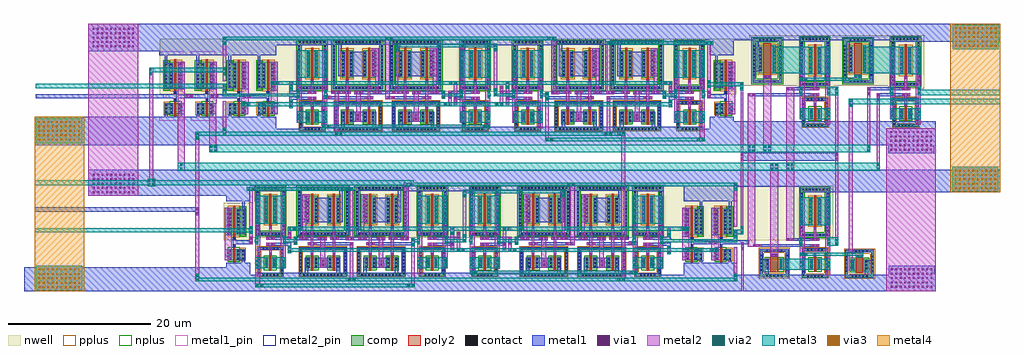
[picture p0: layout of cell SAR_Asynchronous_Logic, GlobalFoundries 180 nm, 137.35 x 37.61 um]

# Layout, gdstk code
from math import pi, radians
import gdstk
lib = gdstk.Library(unit=1e-6, precision=1e-09)
def R(c, l, rs):  # rectangles x0, y0, x1, y1
    for r in rs: c.add(gdstk.rectangle(r[:2], r[2:], *l))
def A(c, l, x, y, w, h, nx, ny, dx, dy):  # array of equal rectangles
    R(c, l, [(x+i*dx, y+j*dy, x+i*dx+w, y+j*dy+h) for i in range(nx) for j in range(ny)])
def P(c, l, *ps):  # polygons
    for p in ps: c.add(gdstk.Polygon(p, *l))
nwell = (21, 0)
comp = (22, 0)
poly2 = (30, 0)
pplus = (31, 0)
nplus = (32, 0)
contact = (33, 0)
metal1 = (34, 0)
metal1_pin = (34, 10)
via1 = (35, 0)
metal2 = (36, 0)
metal2_pin = (36, 10)
via2 = (38, 0)
via3 = (40, 0)
metal3 = (42, 0)
metal4 = (46, 0)

pfet = lib.new_cell('pfet')
R(pfet, nwell, [(-0.9,-0.44,1.56,4.34)])
R(pfet, comp, [(-0.46,0,0,3.9), (0,0,0.66,3.9), (0.66,0,1.12,3.9)])
R(pfet, poly2, [(0.19,-0.3,0.47,4.2), (0.14,4.2,0.52,4.58)])
R(pfet, pplus, [(-0.63,-0.24,1.29,4.14)])
A(pfet, contact, -0.34, 0.31, 0.22, 0.22, 1, 7, 0, 0.51)
A(pfet, contact, 0.78, 0.31, 0.22, 0.22, 1, 7, 0, 0.51)
R(pfet, contact, [(0.22,4.28,0.44,4.5)])
R(pfet, metal1, [(-0.42,0.23,-0.04,3.67), (0.7,0.23,1.08,3.67), (0.14,4.199,0.52,4.581)])

via_dev_2 = lib.new_cell('via_dev$2')
R(via_dev_2, metal1, [(0,0,1.2,0.4)])
R(via_dev_2, via1, [(0.205,0.07,0.465,0.33), (0.735,0.07,0.995,0.33)])
R(via_dev_2, metal2, [(0,0,1.2,0.4)])

via_dev_3 = lib.new_cell('via_dev$3')
R(via_dev_3, poly2, [(0,0,0.4,0.4)])
R(via_dev_3, contact, [(0.09,0.09,0.31,0.31)])
R(via_dev_3, metal1, [(0,0,0.4,0.4)])
R(via_dev_3, via1, [(0.07,0.07,0.33,0.33)])
R(via_dev_3, metal2, [(0,0,0.4,0.4)])

via_dev_4 = lib.new_cell('via_dev$4')
R(via_dev_4, comp, [(0,0,2.83,0.4)])
A(via_dev_4, contact, 0.345, 0.09, 0.22, 0.22, 5, 1, 0.48, 0)
R(via_dev_4, metal1, [(0,0,2.83,0.4)])

via_dev_5 = lib.new_cell('via_dev$5')
R(via_dev_5, comp, [(0,0,0.4,3.8)])
A(via_dev_5, contact, 0.09, 0.35, 0.22, 0.22, 1, 7, 0, 0.48)
R(via_dev_5, metal1, [(0,0,0.4,3.8)])

via_dev_6 = lib.new_cell('via_dev$6')
R(via_dev_6, comp, [(0,0,0.4,4.1)])
A(via_dev_6, contact, 0.09, 0.26, 0.22, 0.22, 1, 8, 0, 0.48)
R(via_dev_6, metal1, [(0,0,0.4,4.1)])

via_dev_7 = lib.new_cell('via_dev$7')
R(via_dev_7, comp, [(0,0,0.4,6)])
A(via_dev_7, contact, 0.09, 0.25, 0.22, 0.22, 1, 12, 0, 0.48)
R(via_dev_7, metal1, [(0,0,0.4,6)])

via_dev_8 = lib.new_cell('via_dev$8')
R(via_dev_8, comp, [(0,0,4.05,0.4)])
A(via_dev_8, contact, 0.235, 0.09, 0.22, 0.22, 8, 1, 0.48, 0)
R(via_dev_8, metal1, [(0,0,4.05,0.4)])

via_dev_9 = lib.new_cell('via_dev$9')
R(via_dev_9, metal1, [(0,0,0.4,3.9)])
A(via_dev_9, via1, 0.07, 0.23, 0.26, 0.26, 1, 7, 0, 0.53)
R(via_dev_9, metal2, [(0,0,0.4,3.9)])
A(via_dev_9, via2, 0.07, 0.23, 0.26, 0.26, 1, 7, 0, 0.53)
R(via_dev_9, metal3, [(0,0,0.4,3.9)])

via_dev_10 = lib.new_cell('via_dev$10')
R(via_dev_10, metal2, [(0,0,0.4,1.56)])
R(via_dev_10, via2, [(0.07,0.385,0.33,0.645), (0.07,0.915,0.33,1.175)])
R(via_dev_10, metal3, [(0,0,0.4,1.56)])

nfet = lib.new_cell('nfet')
R(nfet, comp, [(-0.42,0,0,1.56), (0,0,0.66,1.56), (0.66,0,1.08,1.56)])
R(nfet, poly2, [(0.19,-0.3,0.47,1.86), (0.15,1.86,0.51,2.22)])
R(nfet, nplus, [(-0.59,-0.24,1.25,1.8)])
A(nfet, contact, -0.32, 0.16, 0.22, 0.22, 1, 3, 0, 0.51)
A(nfet, contact, 0.76, 0.16, 0.22, 0.22, 1, 3, 0, 0.51)
R(nfet, contact, [(0.22,1.93,0.44,2.15)])
R(nfet, metal1, [(-0.4,0.08,-0.02,1.48), (0.68,0.08,1.06,1.48), (0.14,1.849,0.52,2.231)])

via_dev_11 = lib.new_cell('via_dev$11')
R(via_dev_11, metal2, [(0,0,0.4,3.9)])
A(via_dev_11, via2, 0.07, 0.23, 0.26, 0.26, 1, 7, 0, 0.53)
R(via_dev_11, metal3, [(0,0,0.4,3.9)])

via_dev_12 = lib.new_cell('via_dev$12')
R(via_dev_12, metal1, [(0,0,0.4,1.56)])
R(via_dev_12, via1, [(0.07,0.385,0.33,0.645), (0.07,0.915,0.33,1.175)])
R(via_dev_12, metal2, [(0,0,0.4,1.56)])
R(via_dev_12, via2, [(0.07,0.385,0.33,0.645), (0.07,0.915,0.33,1.175)])
R(via_dev_12, metal3, [(0,0,0.4,1.56)])

via_dev_13 = lib.new_cell('via_dev$13')
R(via_dev_13, metal2, [(0,0,0.4,1.2)])
R(via_dev_13, via2, [(0.07,0.205,0.33,0.465), (0.07,0.735,0.33,0.995)])
R(via_dev_13, metal3, [(0,0,0.4,1.2)])

t_gate = lib.new_cell('t_gate')
R(t_gate, nwell, [(-2,-1.2,3.03,6.3)])
R(t_gate, comp, [(1.86,-2.8,2.26,-2.5)])
R(t_gate, pplus, [(-1.45,-6.7,-0.83,-2.35), (-1.45,-6.7,1.73,-6.08), (1.73,-6.7,2.35,-2.35), (-1.45,-2.97,1.83,-2.35)])
R(t_gate, nplus, [(-1.8,-1,2.62,-0.2), (-1.8,-0.85,-1,6.05), (1.85,-0.85,2.62,6.1), (-1.8,5.4,2.62,6.18)])
R(t_gate, metal1, [(-1.45,-6.7,2.35,-6.28), (1.86,-2.8,2.26,-2.5), (-1.79,-2.27,-0.09,-1.87), (-1.78,-1.43,-0.11,-1.03), (-1.8,5.4,2.62,6.18)])
R(t_gate, metal2, [(1.86,-6.3,2.57,4.71), (-1.715,-5.515,-1.005,4.695), (0.25,-3.6,0.65,-2), (0.25,-1.32,0.65,0.51)])
R(t_gate, metal3, [(-1.63,-5.5,-0.3,-3.94), (0.8,-5.5,2.4,-3.94), (-1.78,-1.8,-1.32,-1.42), (2.17,-1.78,2.63,-1.42), (-1.67,0.8,-0.34,4.7), (1.24,0.8,2.57,4.7)])
t_gate.add(gdstk.Reference(pfet, (0.12,4.7), x_reflection=True))
t_gate.add(gdstk.Reference(via_dev_2, (-0.15,-2.27)))
t_gate.add(gdstk.Reference(via_dev_3, (0.25,0.11)))
t_gate.add(gdstk.Reference(via_dev_4, (-0.97,-6.6)))
t_gate.add(gdstk.Reference(via_dev_5, (1.86,-6.6)))
t_gate.add(gdstk.Reference(via_dev_6, (-1.37,-6.6)))
t_gate.add(gdstk.Reference(via_dev_7, (-1.6,-0.4)))
t_gate.add(gdstk.Reference(via_dev_3, (0.25,-3.66)))
t_gate.add(gdstk.Reference(via_dev_7, (2.05,-0.4)))
t_gate.add(gdstk.Reference(via_dev_8, (-1.6,5.6)))
t_gate.add(gdstk.Reference(via_dev_8, (-1.6,-0.8)))
t_gate.add(gdstk.Reference(via_dev_9, (-0.34,0.8)))
t_gate.add(gdstk.Reference(via_dev_4, (-0.97,-2.9)))
t_gate.add(gdstk.Reference(via_dev_9, (0.84,0.8)))
t_gate.add(gdstk.Reference(via_dev_10, (2.17,-5.5)))
t_gate.add(gdstk.Reference(nfet, (0.12,-5.5)))
t_gate.add(gdstk.Reference(via_dev_11, (-1.67,0.8)))
t_gate.add(gdstk.Reference(via_dev_10, (-1.63,-5.5)))
t_gate.add(gdstk.Reference(via_dev_12, (0.8,-5.5)))
t_gate.add(gdstk.Reference(via_dev_11, (2.17,0.8)))
t_gate.add(gdstk.Reference(via_dev_12, (-0.3,-5.5)))
t_gate.add(gdstk.Reference(via_dev_2, (-0.15,-1.43)))
t_gate.add(gdstk.Reference(via_dev_13, (-1.72,-2.12)))
t_gate.add(gdstk.Reference(via_dev_13, (2.17,-2.12)))

pfet_1 = lib.new_cell('pfet$1')
R(pfet_1, nwell, [(-1.15,-0.69,2.54,4.59)])
R(pfet_1, comp, [(-0.46,0,0,3.9), (0,0,0.66,3.9), (0.66,0,1.12,3.9), (1.12,0,1.85,3.9)])
R(pfet_1, poly2, [(0.19,-0.3,0.47,4.2), (0.14,4.2,0.52,4.58)])
R(pfet_1, pplus, [(-0.63,-0.24,1.12,4.14)])
R(pfet_1, nplus, [(1.12,-0.17,2.02,4.07)])
A(pfet_1, contact, -0.34, 0.31, 0.22, 0.22, 1, 7, 0, 0.51)
A(pfet_1, contact, 0.78, 0.31, 0.22, 0.22, 1, 7, 0, 0.51)
A(pfet_1, contact, 1.51, 0.31, 0.22, 0.22, 1, 7, 0, 0.51)
R(pfet_1, contact, [(0.22,4.28,0.44,4.5)])
R(pfet_1, metal1, [(-0.42,0.23,-0.04,3.67), (0.7,0.23,1.08,3.67), (1.43,0.23,1.81,3.67), (0.14,4.199,0.52,4.581)])

nfet_1 = lib.new_cell('nfet$1')
R(nfet_1, comp, [(-0.42,0,0,1.56), (0,0,0.66,1.56), (0.66,0,1.08,1.56), (1.08,0,1.79,1.56)])
R(nfet_1, poly2, [(0.19,-0.3,0.47,1.86), (0.15,1.86,0.51,2.22)])
R(nfet_1, pplus, [(1.08,-0.17,1.96,1.73)])
R(nfet_1, nplus, [(-0.59,-0.24,1.08,1.8)])
A(nfet_1, contact, -0.32, 0.16, 0.22, 0.22, 1, 3, 0, 0.51)
A(nfet_1, contact, 0.76, 0.16, 0.22, 0.22, 1, 3, 0, 0.51)
A(nfet_1, contact, 1.47, 0.16, 0.22, 0.22, 1, 3, 0, 0.51)
R(nfet_1, contact, [(0.22,1.93,0.44,2.15)])
R(nfet_1, metal1, [(-0.4,0.08,-0.02,1.48), (0.68,0.08,1.06,1.48), (1.39,0.08,1.77,1.48), (0.14,1.849,0.52,2.231)])

via_dev_14 = lib.new_cell('via_dev$14')
R(via_dev_14, metal1, [(0,0,1,1.56)])
R(via_dev_14, via1, [(0.37,0.385,0.63,0.645), (0.37,0.915,0.63,1.175)])
R(via_dev_14, metal2, [(0,0,1,1.56)])

via_dev_15 = lib.new_cell('via_dev$15')
R(via_dev_15, metal1, [(0,0,1,3.9)])
A(via_dev_15, via1, 0.37, 0.23, 0.26, 0.26, 1, 7, 0, 0.53)
R(via_dev_15, metal2, [(0,0,1,3.9)])

top = lib.new_cell('TOP')
R(top, metal1, [(-1.6,-3.6,1.8,-3.05), (-0.77,-3.1,-0.4,-2.6), (-0.5,-2.62,0.05,-1.22), (0.475,-0.855,0.86,-0.47), (0.48,-0.6,0.86,0.21), (-1,-0.47,0.86,0.14), (0.45,0.12,0.89,0.51), (-0.48,1.03,0.01,4.47), (-0.81,4.42,-0.43,5.67), (-1.6,5.6,1.8,6.16)])
R(top, metal1_pin, [(-1.6,-3.6,1.8,-3.05), (-1,-0.47,-0.6,0.14), (-1.6,5.6,1.8,6.16)])
R(top, metal2, [(1.02,-1.14,2.04,0.81)])
R(top, metal2_pin, [(1.02,-0.46,2.04,0.05)])
top.add(gdstk.Reference(pfet_1, (1,4.7), rotation=pi))
top.add(gdstk.Reference(nfet_1, (1,-2.7), rotation=pi, x_reflection=True))
top.add(gdstk.Reference(via_dev_14, (1.02,-2.7)))
top.add(gdstk.Reference(via_dev_15, (1.04,0.8)))

pfet_2 = lib.new_cell('pfet$2')
R(pfet_2, nwell, [(-1.15,-0.69,2.54,4.59)])
R(pfet_2, comp, [(-0.46,0,0,3.9), (0,0,0.66,3.9), (0.66,0,1.12,3.9), (1.12,0,1.85,3.9)])
R(pfet_2, poly2, [(0.19,-0.3,0.47,4.2), (0.14,4.2,0.52,4.58)])
R(pfet_2, pplus, [(-0.63,-0.24,1.12,4.14)])
R(pfet_2, nplus, [(1.12,-0.17,2.02,4.07)])
A(pfet_2, contact, -0.34, 0.31, 0.22, 0.22, 1, 7, 0, 0.51)
A(pfet_2, contact, 0.78, 0.31, 0.22, 0.22, 1, 7, 0, 0.51)
A(pfet_2, contact, 1.51, 0.31, 0.22, 0.22, 1, 7, 0, 0.51)
R(pfet_2, contact, [(0.22,4.28,0.44,4.5)])
R(pfet_2, metal1, [(-0.42,0.23,-0.04,3.67), (0.7,0.23,1.08,3.67), (1.43,0.23,1.81,3.67), (0.14,4.199,0.52,4.581)])

nfet_2 = lib.new_cell('nfet$2')
R(nfet_2, comp, [(-0.42,0,0,1.56), (0,0,0.66,1.56), (0.66,0,1.08,1.56), (1.08,0,1.79,1.56)])
R(nfet_2, poly2, [(0.19,-0.3,0.47,1.86), (0.15,1.86,0.51,2.22)])
R(nfet_2, pplus, [(1.08,-0.17,1.96,1.73)])
R(nfet_2, nplus, [(-0.59,-0.24,1.08,1.8)])
A(nfet_2, contact, -0.32, 0.16, 0.22, 0.22, 1, 3, 0, 0.51)
A(nfet_2, contact, 0.76, 0.16, 0.22, 0.22, 1, 3, 0, 0.51)
A(nfet_2, contact, 1.47, 0.16, 0.22, 0.22, 1, 3, 0, 0.51)
R(nfet_2, contact, [(0.22,1.93,0.44,2.15)])
R(nfet_2, metal1, [(-0.4,0.08,-0.02,1.48), (0.68,0.08,1.06,1.48), (1.39,0.08,1.77,1.48), (0.14,1.849,0.52,2.231)])

inv_1x = lib.new_cell('inv_1x')
R(inv_1x, metal1, [(-1.6,-3.6,1.8,-3.05), (-0.77,-3.1,-0.4,-2.6), (-0.5,-2.62,0.05,-1.22), (0.475,-0.855,0.86,-0.47), (0.48,-0.6,0.86,0.21), (-1,-0.47,0.86,0.14), (0.45,0.12,0.89,0.51), (-0.48,1.03,0.01,4.47), (-0.81,4.42,-0.43,5.67), (-1.6,5.6,1.8,6.16)])
R(inv_1x, metal2, [(1.02,-1.14,2.04,0.81)])
inv_1x.add(gdstk.Reference(pfet_2, (1,4.7), rotation=pi))
inv_1x.add(gdstk.Reference(nfet_2, (1,-2.7), rotation=pi, x_reflection=True))
inv_1x.add(gdstk.Reference(via_dev_14, (1.02,-2.7)))
inv_1x.add(gdstk.Reference(via_dev_15, (1.04,0.8)))

via_dev_16 = lib.new_cell('via_dev$16')
R(via_dev_16, metal1, [(0,0,1.2,0.5)])
R(via_dev_16, via1, [(0.205,0.12,0.465,0.38), (0.735,0.12,0.995,0.38)])
R(via_dev_16, metal2, [(0,0,1.2,0.5)])

via_dev_17 = lib.new_cell('via_dev$17')
R(via_dev_17, metal2, [(0,0,1.2,0.5)])
R(via_dev_17, via2, [(0.205,0.12,0.465,0.38), (0.735,0.12,0.995,0.38)])
R(via_dev_17, metal3, [(0,0,1.2,0.5)])

via_dev_18 = lib.new_cell('via_dev$18')
R(via_dev_18, metal1, [(0,0,0.5,1.2)])
R(via_dev_18, via1, [(0.12,0.205,0.38,0.465), (0.12,0.735,0.38,0.995)])
R(via_dev_18, metal2, [(0,0,0.5,1.2)])
R(via_dev_18, via2, [(0.12,0.205,0.38,0.465), (0.12,0.735,0.38,0.995)])
R(via_dev_18, metal3, [(0,0,0.5,1.2)])

via_dev_19 = lib.new_cell('via_dev$19')
R(via_dev_19, metal1, [(0,0,0.5,1.1)])
R(via_dev_19, via1, [(0.12,0.155,0.38,0.415), (0.12,0.685,0.38,0.945)])
R(via_dev_19, metal2, [(0,0,0.5,1.1)])
R(via_dev_19, via2, [(0.12,0.155,0.38,0.415), (0.12,0.685,0.38,0.945)])
R(via_dev_19, metal3, [(0,0,0.5,1.1)])

via_dev_20 = lib.new_cell('via_dev$20')
R(via_dev_20, metal1, [(0,0,0.5,1.1)])
R(via_dev_20, via1, [(0.12,0.155,0.38,0.415), (0.12,0.685,0.38,0.945)])
R(via_dev_20, metal2, [(0,0,0.5,1.1)])

via_dev_21 = lib.new_cell('via_dev$21')
R(via_dev_21, metal2, [(0,0,1.1,0.5)])
R(via_dev_21, via2, [(0.155,0.12,0.415,0.38), (0.685,0.12,0.945,0.38)])
R(via_dev_21, metal3, [(0,0,1.1,0.5)])

pfet_3 = lib.new_cell('pfet$3')
R(pfet_3, nwell, [(-0.9,-0.44,1.56,4.34)])
R(pfet_3, comp, [(-0.46,0,0,3.9), (0,0,0.66,3.9), (0.66,0,1.12,3.9)])
R(pfet_3, poly2, [(0.19,-0.3,0.47,4.2), (0.14,4.2,0.52,4.58)])
R(pfet_3, pplus, [(-0.63,-0.24,1.29,4.14)])
A(pfet_3, contact, -0.34, 0.31, 0.22, 0.22, 1, 7, 0, 0.51)
A(pfet_3, contact, 0.78, 0.31, 0.22, 0.22, 1, 7, 0, 0.51)
R(pfet_3, contact, [(0.22,4.28,0.44,4.5)])
R(pfet_3, metal1, [(-0.42,0.23,-0.04,3.67), (0.7,0.23,1.08,3.67), (0.14,4.199,0.52,4.581)])

via_dev_22 = lib.new_cell('via_dev$22')
R(via_dev_22, comp, [(0,0,7.15,0.4)])
A(via_dev_22, contact, 0.345, 0.09, 0.22, 0.22, 14, 1, 0.48, 0)
R(via_dev_22, metal1, [(0,0,7.15,0.4)])

via_dev_23 = lib.new_cell('via_dev$23')
R(via_dev_23, comp, [(0,0,6,0.4)])
A(via_dev_23, contact, 0.25, 0.09, 0.22, 0.22, 12, 1, 0.48, 0)
R(via_dev_23, metal1, [(0,0,6,0.4)])

via_dev_24 = lib.new_cell('via_dev$24')
R(via_dev_24, poly2, [(0,0,0.8,1.4)])
R(via_dev_24, contact, [(0.29,0.35,0.51,0.57), (0.29,0.83,0.51,1.05)])
R(via_dev_24, metal1, [(0,0,0.8,1.4)])
R(via_dev_24, via1, [(0.27,0.305,0.53,0.565), (0.27,0.835,0.53,1.095)])
R(via_dev_24, metal2, [(0,0,0.8,1.4)])

nor_2_1x = lib.new_cell('nor_2_1x')
R(nor_2_1x, nwell, [(-1.89,-1.15,5.88,6.3)])
R(nor_2_1x, pplus, [(-1.45,-6.7,-0.83,-2.35), (-1.45,-6.7,4.9,-6.08), (4.82,-6.7,5.44,-2.35), (-1.45,-2.97,4.9,-2.35)])
R(nor_2_1x, nplus, [(-1.8,-1,5.78,-0.2), (-1.8,-0.85,-1,6.05), (4.98,-0.85,5.78,6.1), (-1.8,5.45,5.78,6.18)])
R(nor_2_1x, metal1, [(-1.45,-6.7,5.44,-6.08), (-0.4,-6.29,0.1,-4.02), (4.06,-6.29,4.56,-4.02), (1.17,-5.42,2.84,-4.02), (-1.8,-2.2,2.93,-1.8), (1.44,-1.54,5.8,-1.06), (-1.8,-1.46,-0.24,-1.06), (-0.8,1.03,-0.3,5.98), (1.2,1.03,2.78,4.47), (-1.6,5.45,5.55,6.1)])
R(nor_2_1x, metal2, [(1.7,-4.02,2.38,-1.06), (0.25,-3.26,0.65,0.18), (3.33,-3.26,3.73,0.29), (4.38,-1.2,4.9,1.2)])
nor_2_1x.add(gdstk.Reference(pfet_3, (0.12,4.7), x_reflection=True))
nor_2_1x.add(gdstk.Reference(via_dev_3, (3.33,-3.66)))
nor_2_1x.add(gdstk.Reference(via_dev_3, (0.25,0.11)))
nor_2_1x.add(gdstk.Reference(via_dev_3, (3.33,0.11)))
nor_2_1x.add(gdstk.Reference(via_dev_15, (3.9,1.03)))
nor_2_1x.add(gdstk.Reference(nfet, (0.12,-5.5)))
nor_2_1x.add(gdstk.Reference(via_dev_7, (-1.6,-0.4)))
nor_2_1x.add(gdstk.Reference(via_dev_2, (2.93,-2.2)))
nor_2_1x.add(gdstk.Reference(via_dev_22, (-1.6,5.6)))
nor_2_1x.add(gdstk.Reference(nfet, (3.2,-5.5)))
nor_2_1x.add(gdstk.Reference(via_dev_23, (-0.97,-2.9)))
nor_2_1x.add(gdstk.Reference(via_dev_23, (-0.97,-6.6)))
nor_2_1x.add(gdstk.Reference(via_dev_6, (-1.37,-6.6)))
nor_2_1x.add(gdstk.Reference(via_dev_24, (1.56,-5.42)))
nor_2_1x.add(gdstk.Reference(via_dev_3, (0.25,-3.66)))
nor_2_1x.add(gdstk.Reference(via_dev_2, (1.44,-1.46)))
nor_2_1x.add(gdstk.Reference(via_dev_2, (4.05,-1.46)))
nor_2_1x.add(gdstk.Reference(pfet_3, (3.2,4.7), x_reflection=True))
nor_2_1x.add(gdstk.Reference(via_dev_2, (-0.24,-1.46)))
nor_2_1x.add(gdstk.Reference(via_dev_7, (5.15,-0.4)))
nor_2_1x.add(gdstk.Reference(via_dev_22, (-1.6,-0.8)))
nor_2_1x.add(gdstk.Reference(via_dev_6, (4.95,-6.6)))

via_dev_25 = lib.new_cell('via_dev$25')
R(via_dev_25, metal1, [(0,0,1.1,0.4)])
R(via_dev_25, via1, [(0.155,0.07,0.415,0.33), (0.685,0.07,0.945,0.33)])
R(via_dev_25, metal2, [(0,0,1.1,0.4)])

t_gate_1 = lib.new_cell('t_gate$1')
R(t_gate_1, nwell, [(-2,-1.2,2.7,6.3)])
R(t_gate_1, comp, [(1.86,-2.8,2.26,-2.5)])
R(t_gate_1, pplus, [(-1.45,-6.7,-0.83,-2.35), (-1.45,-6.7,1.73,-6.08), (1.73,-6.7,2.35,-2.35), (-1.45,-2.97,1.83,-2.35)])
R(t_gate_1, nplus, [(-1.8,-1,2.62,-0.2), (-1.8,-0.85,-1,6.05), (1.85,-0.85,2.62,6.1), (-1.8,5.4,2.62,6.18)])
R(t_gate_1, metal1, [(-1.45,-6.7,2.35,-6.08), (1.86,-2.8,2.26,-2.5), (-1.79,-2.27,-0.09,-1.87), (-1.78,-1.43,-0.11,-1.03), (-1.8,5.4,2.62,6.18)])
R(t_gate_1, metal2, [(1.86,-6.3,2.57,4.71), (-1.72,-5.5,-1.01,4.69), (0.25,-3.6,0.65,-2), (0.25,-1.32,0.65,0.51)])
R(t_gate_1, metal3, [(-1.63,-5.5,-0.3,-3.94), (-1.63,-5.5,-0.3,-3.94), (0.8,-5.5,2.4,-3.94), (-1.78,-1.8,-1.32,-1.42), (2.17,-1.78,2.63,-1.42), (-1.67,0.8,-0.34,4.7), (1.24,0.8,2.57,4.7)])
t_gate_1.add(gdstk.Reference(pfet, (0.12,4.7), x_reflection=True))
t_gate_1.add(gdstk.Reference(via_dev_12, (-0.3,-5.5)))
t_gate_1.add(gdstk.Reference(via_dev_3, (0.25,0.11)))
t_gate_1.add(gdstk.Reference(via_dev_12, (0.8,-5.5)))
t_gate_1.add(gdstk.Reference(via_dev_10, (-1.63,-5.5)))
t_gate_1.add(gdstk.Reference(nfet, (0.12,-5.5)))
t_gate_1.add(gdstk.Reference(via_dev_7, (-1.6,-0.4)))
t_gate_1.add(gdstk.Reference(via_dev_10, (2.17,-5.5)))
t_gate_1.add(gdstk.Reference(via_dev_7, (2.05,-0.4)))
t_gate_1.add(gdstk.Reference(via_dev_8, (-1.6,5.6)))
t_gate_1.add(gdstk.Reference(via_dev_8, (-1.6,-0.8)))
t_gate_1.add(gdstk.Reference(via_dev_9, (-0.34,0.8)))
t_gate_1.add(gdstk.Reference(via_dev_4, (-0.97,-2.9)))
t_gate_1.add(gdstk.Reference(via_dev_9, (0.84,0.8)))
t_gate_1.add(gdstk.Reference(via_dev_3, (0.25,-3.66)))
t_gate_1.add(gdstk.Reference(via_dev_6, (-1.37,-6.6)))
t_gate_1.add(gdstk.Reference(via_dev_11, (-1.67,0.8)))
t_gate_1.add(gdstk.Reference(via_dev_5, (1.86,-6.6)))
t_gate_1.add(gdstk.Reference(via_dev_4, (-0.97,-6.6)))
t_gate_1.add(gdstk.Reference(via_dev_11, (2.17,0.8)))
t_gate_1.add(gdstk.Reference(via_dev_2, (-0.15,-2.27)))
t_gate_1.add(gdstk.Reference(via_dev_2, (-0.15,-1.43)))
t_gate_1.add(gdstk.Reference(via_dev_13, (-1.72,-2.12)))
t_gate_1.add(gdstk.Reference(via_dev_13, (2.17,-2.12)))

via_dev_26 = lib.new_cell('via_dev$26')
R(via_dev_26, metal2, [(0,0,0.5,1.1)])
R(via_dev_26, via2, [(0.12,0.155,0.38,0.415), (0.12,0.685,0.38,0.945)])
R(via_dev_26, metal3, [(0,0,0.5,1.1)])

via_dev_27 = lib.new_cell('via_dev$27')
R(via_dev_27, metal1, [(0,0,1.1,0.5)])
R(via_dev_27, via1, [(0.155,0.12,0.415,0.38), (0.685,0.12,0.945,0.38)])
R(via_dev_27, metal2, [(0,0,1.1,0.5)])

via_dev_28 = lib.new_cell('via_dev$28')
R(via_dev_28, metal1, [(0,0,1.1,0.48)])
R(via_dev_28, via1, [(0.155,0.11,0.415,0.37), (0.685,0.11,0.945,0.37)])
R(via_dev_28, metal2, [(0,0,1.1,0.48)])

via_dev_29 = lib.new_cell('via_dev$29')
R(via_dev_29, metal2, [(0,0,0.4,1.1)])
R(via_dev_29, via2, [(0.07,0.155,0.33,0.415), (0.07,0.685,0.33,0.945)])
R(via_dev_29, metal3, [(0,0,0.4,1.1)])

d_reset_ff = lib.new_cell('D_reset_FF')
R(d_reset_ff, nwell, [(-15.14,-0.89,-7.35,4.39), (-7.35,-0.56,-6.46,4.39), (-6.46,-0.56,19.7,6.94), (21.53,-0.56,46.14,6.94), (46.14,-0.56,46.64,6.94), (48.84,-0.56,51.96,4.39)])
R(d_reset_ff, metal1, [(-16.6,-8.05,-9.1,-4.6), (-16.37,-8.05,55.04,-5.77), (51.9,-8.05,83.77,-4.7), (5.9,-6.06,7.15,-5.44), (14.04,-6.06,17.169,-5.44), (20.749,-6.06,24.43,-5.44), (26.23,-6.06,29.55,-5.44), (34.44,-6.06,38.25,-5.44), (42.64,-6.06,47.19,-5.44), (29.55,-5.77,30.05,-5.44), (-13.2,-4.6,-11.1,-4.05), (46.13,-2.539,46.532,-1.63), (-7.25,-1.63,-6.217,-1.23), (16.395,-1.63,16.712,-1.23), (23.749,-1.63,24.09,-1.23), (46.13,-1.63,46.85,-1.23), (29.16,-1.56,29.722,-1.16), (-18.3,-1.47,-16,-0.86), (52.09,-1.47,52.5,-0.86), (-12.7,-1.45,-11.79,-0.95), (37.24,-0.9,37.4,-0.42), (6.25,-0.82,6.844,-0.42), (-7.27,-0.79,-6.24,-0.39), (15.581,-0.79,16.72,-0.42), (22.851,-0.79,24.1,-0.39), (46.175,-0.79,46.883,-0.39), (-9.7,-0.39,-8.86,-0.2), (-13.2,4.6,-11.1,5.16), (-16.6,5.16,-9.1,9.02), (51.9,5.16,55.3,9.02), (21.12,6.04,24.08,6.82), (26.5,6.04,29.948,6.74), (-1.842,6.09,-1.14,6.74), (6.01,6.09,7,6.74), (14.15,6.09,16.7,6.74), (34.55,6.09,38.1,6.74), (42.75,6.09,46.84,6.74), (-16.37,6.74,55.04,9.02)])
P(d_reset_ff, metal1, [(-2.221,-6.06),(-2.221,-5.591),(-2.221,-5.44),(-0.99,-5.44),(-0.99,-6.06)])
R(d_reset_ff, metal2, [(50.5,-7.5,51.21,-5.66), (28.8,-7.364,29.3,-1.697), (-0.855,-6.69,-0.305,-0.73), (37.46,-6.503,37.96,-2.26), (-16.6,-5.59,-16.1,-1.87), (20.335,-5.189,21.07,-4.86), (15.1,-2.54,15.6,-1.52), (22.36,-2.54,22.86,-0.79), (6.24,-1.56,6.91,7.2), (15.9,-1.231,16.4,0.509), (23.25,-1.23,23.75,0.52), (7.7,-0.82,8.1,5.94), (29.63,-0.7,30.3,7.2), (37.45,-0.4,37.9,6.34), (51.59,-0.37,52.09,6.59), (21.55,-0.06,22.05,5.7), (46.13,0.31,46.63,0.98), (-16.6,0.98,-16.1,6.1), (16.78,5.33,17.48,5.75)])
R(d_reset_ff, metal3, [(29.9,-7.5,51.21,-7), (-16.42,-6.69,38.18,-6.19), (-1.5,-5.66,19.97,-5.16), (-13.118,-2.54,46.63,-2.04), (-16.6,-1.16,-6.24,-0.78), (14.205,-1.16,16.744,-0.78), (21.55,-1.16,24.1,-0.78), (45.32,-1.16,46.86,-0.78), (28.502,-1.14,29.06,-0.78), (-16.6,-0.78,-16.1,-0.61), (51.8,0.24,55.8,0.81), (-8.66,0.48,46.63,0.98), (7.7,5.71,22.05,6.25), (38.55,6.09,52.296,6.59), (-16.6,6.7,30.3,7.2)])
d_reset_ff.add(gdstk.Reference(inv_1x, (-10.9,-1)))
d_reset_ff.add(gdstk.Reference(inv_1x, (-15,-1)))
d_reset_ff.add(gdstk.Reference(via_dev_16, (-13.8,-1.45)))
d_reset_ff.add(gdstk.Reference(via_dev_16, (-2.54,-1.56)))
d_reset_ff.add(gdstk.Reference(via_dev_17, (-9.86,0.48)))
d_reset_ff.add(gdstk.Reference(via_dev_17, (-13.96,-2.54)))
d_reset_ff.add(gdstk.Reference(via_dev_18, (-7.25,-2.83)))
d_reset_ff.add(gdstk.Reference(via_dev_18, (-7.27,-0.39)))
d_reset_ff.add(gdstk.Reference(via_dev_19, (14.2,-1.52)))
d_reset_ff.add(gdstk.Reference(via_dev_20, (15.1,-1.52)))
d_reset_ff.add(gdstk.Reference(via_dev_20, (15.9,-2.33)))
d_reset_ff.add(gdstk.Reference(via_dev_21, (15.3,0.48)))
d_reset_ff.add(gdstk.Reference(via_dev_21, (19.97,-5.66)))
d_reset_ff.add(gdstk.Reference(via_dev_21, (-2.6,-5.66)))
d_reset_ff.add(gdstk.Reference(via_dev_21, (14.5,-2.54)))
d_reset_ff.add(gdstk.Reference(nor_2_1x, (39.7,0.64)))
d_reset_ff.add(gdstk.Reference(inv_1x, (53.5,-1)))
d_reset_ff.add(gdstk.Reference(via_dev_25, (7.26,-0.82)))
d_reset_ff.add(gdstk.Reference(nor_2_1x, (31.5,0.64)))
d_reset_ff.add(gdstk.Reference(t_gate, (-4.46,0.64)))
d_reset_ff.add(gdstk.Reference(nor_2_1x, (0.46,0.64)))
d_reset_ff.add(gdstk.Reference(t_gate, (18.5,0.64)))
d_reset_ff.add(gdstk.Reference(nor_2_1x, (8.6,0.64)))
d_reset_ff.add(gdstk.Reference(t_gate_1, (48.64,0.64)))
d_reset_ff.add(gdstk.Reference(t_gate_1, (25.88,0.64)))
d_reset_ff.add(gdstk.Reference(via_dev_26, (21.55,-1.16)))
d_reset_ff.add(gdstk.Reference(via_dev_26, (21.55,5.15)))
d_reset_ff.add(gdstk.Reference(via_dev_20, (22.36,-0.79)))
d_reset_ff.add(gdstk.Reference(via_dev_21, (21.76,-2.54)))
d_reset_ff.add(gdstk.Reference(via_dev_20, (23.25,-2.33)))
d_reset_ff.add(gdstk.Reference(via_dev_26, (23.25,-0.12)))
d_reset_ff.add(gdstk.Reference(via_dev_19, (28.8,-1.72)))
d_reset_ff.add(gdstk.Reference(via_dev_25, (6.51,-1.56)))
d_reset_ff.add(gdstk.Reference(via_dev_27, (29.62,-0.9)))
d_reset_ff.add(gdstk.Reference(via_dev_21, (6.24,6.7)))
d_reset_ff.add(gdstk.Reference(via_dev_21, (29.1,6.7)))
d_reset_ff.add(gdstk.Reference(via_dev_25, (-1.18,-0.82)))
d_reset_ff.add(gdstk.Reference(via_dev_21, (-0.85,-6.69)))
d_reset_ff.add(gdstk.Reference(via_dev_21, (37.1,-6.69)))
d_reset_ff.add(gdstk.Reference(via_dev_20, (37.46,-2.26)))
d_reset_ff.add(gdstk.Reference(via_dev_19, (45.32,-1.52)))
d_reset_ff.add(gdstk.Reference(via_dev_21, (45.53,0.48)))
d_reset_ff.add(gdstk.Reference(via_dev_20, (46.13,-0.79)))
d_reset_ff.add(gdstk.Reference(via_dev_19, (46.13,-2.73)))
d_reset_ff.add(gdstk.Reference(via_dev_21, (28.8,-7.5)))
d_reset_ff.add(gdstk.Reference(via_dev_21, (50.11,-7.5)))
d_reset_ff.add(gdstk.Reference(via_dev_28, (37.4,-0.88)))
d_reset_ff.add(gdstk.Reference(via_dev_21, (37.45,6.09)))
d_reset_ff.add(gdstk.Reference(via_dev_20, (51.59,-1.47)))
d_reset_ff.add(gdstk.Reference(via_dev_21, (51.3,6.09)))
d_reset_ff.add(gdstk.Reference(via_dev_26, (51.59,0)))
d_reset_ff.add(gdstk.Reference(via_dev_26, (-16.6,-6.69)))
d_reset_ff.add(gdstk.Reference(via_dev_26, (-16.6,6.1)))
d_reset_ff.add(gdstk.Reference(via_dev_29, (7.7,5.15)))
d_reset_ff.add(gdstk.Reference(via_dev_18, (-16.6,-0.61)))
d_reset_ff.add(gdstk.Label('nQ', (55.45,-1.22), layer=36, texttype=10))
d_reset_ff.add(gdstk.Label('Q', (55.72,0.51), layer=42, texttype=10))

pfet_4 = lib.new_cell('pfet$4')
R(pfet_4, nwell, [(-1.76,-1.43,3.24,5.71)])
R(pfet_4, comp, [(-0.46,0,0,3.9), (0,0,1.48,3.9), (1.48,0,1.94,3.9)])
P(pfet_4, comp, [(-1.32,-0.99),(-1.32,-0.61),(2.42,-0.61),(2.42,4.89),(-0.94,4.89),(-0.94,-0.61),(-1.32,-0.61),(-1.32,5.27),(2.8,5.27),(2.8,-0.99)])
R(pfet_4, poly2, [(0.19,-0.3,1.29,4.2), (0.19,4.2,1.29,4.58)])
R(pfet_4, pplus, [(-0.63,-0.24,2.11,4.14)])
P(pfet_4, nplus, [(-1.49,-1.16),(-1.49,-0.44),(2.25,-0.44),(2.25,4.72),(-0.77,4.72),(-0.77,-0.44),(-1.49,-0.44),(-1.49,5.44),(2.97,5.44),(2.97,-1.16)])
A(pfet_4, contact, -0.39, -0.91, 0.22, 0.22, 5, 2, 0.51, 5.88)
A(pfet_4, contact, -1.24, -0.01, 0.22, 0.22, 1, 9, 0, 0.51)
A(pfet_4, contact, 2.5, -0.01, 0.22, 0.22, 1, 9, 0, 0.51)
A(pfet_4, contact, -0.34, 0.31, 0.22, 0.22, 1, 7, 0, 0.51)
A(pfet_4, contact, 1.6, 0.31, 0.22, 0.22, 1, 7, 0, 0.51)
R(pfet_4, contact, [(0.375,4.28,0.595,4.5), (0.885,4.28,1.105,4.5)])
R(pfet_4, metal1, [(-0.42,0.23,-0.04,3.67), (1.52,0.23,1.9,3.67), (0.295,4.2,1.185,4.58)])
P(pfet_4, metal1, [(-1.32,-0.99),(-1.32,-0.61),(2.42,-0.61),(2.42,4.89),(-0.94,4.89),(-0.94,-0.61),(-1.32,-0.61),(-1.32,5.27),(2.8,5.27),(2.8,-0.99)])

nfet_3 = lib.new_cell('nfet$3')
R(nfet_3, comp, [(-0.42,0,0,1.56), (0,0,1.48,1.56), (1.48,0,1.9,1.56)])
P(nfet_3, comp, [(-1.28,-0.99),(-1.28,-0.61),(2.38,-0.61),(2.38,2.54),(-0.9,2.54),(-0.9,-0.61),(-1.28,-0.61),(-1.28,2.92),(2.76,2.92),(2.76,-0.99)])
R(nfet_3, poly2, [(0.19,-0.3,1.29,1.86), (0.19,1.86,1.29,2.22)])
P(nfet_3, pplus, [(-1.45,-1.16),(-1.45,-0.44),(2.21,-0.44),(2.21,2.37),(-0.73,2.37),(-0.73,-0.44),(-1.45,-0.44),(-1.45,3.09),(2.93,3.09),(2.93,-1.16)])
R(nfet_3, nplus, [(-0.59,-0.24,2.07,1.8)])
A(nfet_3, contact, -0.39, -0.91, 0.22, 0.22, 5, 2, 0.51, 3.53)
A(nfet_3, contact, -1.2, -0.165, 0.22, 0.22, 1, 5, 0, 0.51)
A(nfet_3, contact, 2.46, -0.165, 0.22, 0.22, 1, 5, 0, 0.51)
A(nfet_3, contact, -0.32, 0.16, 0.22, 0.22, 1, 3, 0, 0.51)
A(nfet_3, contact, 1.58, 0.16, 0.22, 0.22, 1, 3, 0, 0.51)
R(nfet_3, contact, [(0.375,1.93,0.595,2.15), (0.885,1.93,1.105,2.15)])
R(nfet_3, metal1, [(-0.4,0.08,-0.02,1.48), (1.5,0.08,1.88,1.48), (0.295,1.85,1.185,2.23)])
P(nfet_3, metal1, [(-1.28,-0.99),(-1.28,-0.61),(2.38,-0.61),(2.38,2.54),(-0.9,2.54),(-0.9,-0.61),(-1.28,-0.61),(-1.28,2.92),(2.76,2.92),(2.76,-0.99)])

via_dev_30 = lib.new_cell('via_dev$30')
R(via_dev_30, metal1, [(0,0,0.4,1.1)])
R(via_dev_30, via1, [(0.07,0.155,0.33,0.415), (0.07,0.685,0.33,0.945)])
R(via_dev_30, metal2, [(0,0,0.4,1.1)])

via_dev_31 = lib.new_cell('via_dev$31')
R(via_dev_31, metal1, [(0,0,3.5,6.5)])
A(via_dev_31, via1, 0.38, 0.33, 0.26, 0.26, 5, 10, 0.62, 0.62)
R(via_dev_31, metal2, [(0,0,3.5,6.5)])

via_dev_32 = lib.new_cell('via_dev$32')
R(via_dev_32, metal1, [(0,0,3.5,6.5)])
A(via_dev_32, via1, 0.38, 0.33, 0.26, 0.26, 5, 10, 0.62, 0.62)
R(via_dev_32, metal2, [(0,0,3.5,6.5)])
A(via_dev_32, via2, 0.38, 0.33, 0.26, 0.26, 5, 10, 0.62, 0.62)
A(via_dev_32, via3, 0.38, 0.33, 0.26, 0.26, 5, 10, 0.62, 0.62)
R(via_dev_32, metal3, [(0,0,3.5,6.5)])
R(via_dev_32, metal4, [(0,0,3.5,6.5)])

via_dev_33 = lib.new_cell('via_dev$33')
R(via_dev_33, metal2, [(0,0,1.1,1)])
R(via_dev_33, via2, [(0.155,0.37,0.415,0.63), (0.685,0.37,0.945,0.63)])
R(via_dev_33, metal3, [(0,0,1.1,1)])

via_dev_34 = lib.new_cell('via_dev$34')
R(via_dev_34, metal2, [(0,0,1.1,1.1)])
R(via_dev_34, via2, [(0.155,0.155,0.415,0.415), (0.685,0.155,0.945,0.415), (0.155,0.685,0.415,0.945), (0.685,0.685,0.945,0.945)])
R(via_dev_34, metal3, [(0,0,1.1,1.1)])

via_dev_35 = lib.new_cell('via_dev$35')
R(via_dev_35, metal1, [(0,0,0.4,1.1)])
R(via_dev_35, via1, [(0.07,0.155,0.33,0.415), (0.07,0.685,0.33,0.945)])
R(via_dev_35, metal2, [(0,0,0.4,1.1)])
R(via_dev_35, via2, [(0.07,0.155,0.33,0.415), (0.07,0.685,0.33,0.945)])
R(via_dev_35, metal3, [(0,0,0.4,1.1)])

via_dev_36 = lib.new_cell('via_dev$36')
R(via_dev_36, metal1, [(0,0,1.1,0.4)])
R(via_dev_36, via1, [(0.155,0.07,0.415,0.33), (0.685,0.07,0.945,0.33)])
R(via_dev_36, metal2, [(0,0,1.1,0.4)])
R(via_dev_36, via2, [(0.155,0.07,0.415,0.33), (0.685,0.07,0.945,0.33)])
R(via_dev_36, metal3, [(0,0,1.1,0.4)])

via_dev_37 = lib.new_cell('via_dev$37')
R(via_dev_37, metal2, [(0,0,1.1,0.4)])
R(via_dev_37, via2, [(0.155,0.07,0.415,0.33), (0.685,0.07,0.945,0.33)])
R(via_dev_37, metal3, [(0,0,1.1,0.4)])

via_dev_38 = lib.new_cell('via_dev$38')
R(via_dev_38, metal1, [(0,0,3.9,0.4)])
A(via_dev_38, via1, 0.23, 0.07, 0.26, 0.26, 7, 1, 0.53, 0)
R(via_dev_38, metal2, [(0,0,3.9,0.4)])
A(via_dev_38, via2, 0.23, 0.07, 0.26, 0.26, 7, 1, 0.53, 0)
R(via_dev_38, metal3, [(0,0,3.9,0.4)])

via_dev_39 = lib.new_cell('via_dev$39')
R(via_dev_39, metal1, [(0,0,1.56,0.4)])
R(via_dev_39, via1, [(0.385,0.07,0.645,0.33), (0.915,0.07,1.175,0.33)])
R(via_dev_39, metal2, [(0,0,1.56,0.4)])
R(via_dev_39, via2, [(0.385,0.07,0.645,0.33), (0.915,0.07,1.175,0.33)])
R(via_dev_39, metal3, [(0,0,1.56,0.4)])

sar_asynchronous_logic = lib.new_cell('SAR_Asynchronous_Logic')
R(sar_asynchronous_logic, nwell, [(78.04,-18.14,88,-10.5), (41.37,-17.81,43.2,-10.31), (69.36,-12.86,78.04,-10.5), (6.35,2.4,7.16,7.69), (1.89,2.41,2.66,7.69), (70.34,2.73,72.54,7.68), (79.35,3.57,81.22,10.23), (93.03,3.57,93.99,10.71), (98.99,3.57,100.77,10.71), (86.22,3.59,88,10.71), (70.34,7.68,75.04,10.23), (75.04,7.68,79.35,10.23), (-1.8,7.69,17.24,10.23)])
R(sar_asynchronous_logic, metal1, [(79.5,-25.3,85.74,-23.02), (85.74,-25.3,107.47,-23.02), (82.69,-23.02,83.95,-20.82), (97.48,-23.02,98.74,-20.92), (68.73,-22.89,68.81,-19.11), (7.6,-21.95,11,-21.85), (81.75,-19.07,88.21,-18.67), (79.495,-18.72,80.44,-18.12), (86.4,-18.23,88.22,-17.83), (-19.38,-14.105,3.72,-13.495), (-11.8,-11.9,7.86,-8.23), (91.62,-11.4,116.48,-8.23), (79.5,-10.62,88.2,-8.23), (88.2,-10.62,91.62,-8.23), (80.37,-6.92,93.7,-5.82), (-19.38,-4.76,7.1,-0.75), (79,-4.76,105.119,-2.4), (88.55,-2.4,92.35,-2.29), (101.32,-2.4,105.119,-2.29), (75.6,-1.41,79,-1.31), (-19.19,1.83,-1.26,2.44), (1.78,1.83,3.2,2.44), (80.95,2.14,88.21,2.54), (99.14,2.14,100.98,2.54), (86.4,2.98,88.24,3.38), (88.218,2.98,88.22,3.38), (97.8,2.98,100.99,3.38), (81.66,5.61,82.56,10.03), (94.43,5.61,95.33,10.03), (1.54,7.9,2.6,8.46), (6,7.9,7.1,8.46), (-11.8,8.46,7.1,12.31), (14.6,9.33,17.44,10.03), (105.39,9.81,116.48,12.31), (79,10.03,105.39,12.31)])
R(sar_asynchronous_logic, metal2, [(80.04,-25.3,80.44,-19.54), (100.47,-25.3,107.47,-2.4), (3.215,-23.94,3.825,-2.9), (95.19,-22.4,95.75,1.76), (84.16,-20.15,85.26,-7.25), (80.95,-19.07,82.05,-5.79), (86.4,-18.23,87.5,-8.35), (63.195,-17.98,63.745,-2.9), (93.3,-17.82,93.7,2.29), (79.97,-16.217,80.37,4.105), (-11.8,-11.9,-4.8,12.31), (-3.265,-10.56,-2.655,6.15), (0.76,-8.35,1.76,-0.4), (86.4,-8.35,87.5,2.98), (99.14,-8.347,99.54,1.44), (5.22,-5.79,6.22,-0.4), (80.95,-5.79,82.05,2.14), (83.17,-5.79,84.27,4.69), (97.8,-5.79,98.2,2.28)])
R(sar_asynchronous_logic, metal3, [(3.31,-23.94,24.7,-23.44), (85.847,-22.3,88.37,-20.74), (89.355,-20.29,97.245,-19.89), (92.57,-18.92,93.7,-17.72), (79.495,-17.275,80.37,-16.665), (-19.38,-17.005,7.1,-16.44), (-19.375,-10.37,33.975,-9.71), (1.76,-8.35,99.54,-7.25), (5.22,-5.79,98.2,-4.69), (3.32,-3.4,7.1,-2.9), (61.895,-3.4,63.745,-2.9), (95.19,0.995,116.48,1.765), (92.57,2.29,93.7,3.49), (105.34,2.29,116.48,3.06), (-19.2,3.265,7.1,3.875), (79.5,3.53,80.36,4.1), (89.38,4.33,97.04,4.73), (84.92,5.38,88.33,9.11), (97.69,5.38,101.1,9.11), (-3.255,5.485,7.215,6.155)])
R(sar_asynchronous_logic, metal4, [(-19.38,-25.3,-12.38,-0.75), (109.48,-11.4,116.48,12.31)])
r = gdstk.Reference(t_gate, (102.77,4.41)); r.repetition = gdstk.Repetition(1, 1, v1=(0,0), v2=(0,0)); sar_asynchronous_logic.add(r)
r = gdstk.Reference(top, (4.2,2.3)); r.repetition = gdstk.Repetition(1, 1, v1=(0,0), v2=(0,0)); sar_asynchronous_logic.add(r)
r = gdstk.Reference(top, (-0.26,2.3)); r.repetition = gdstk.Repetition(1, 1, v1=(0,0), v2=(0,0)); sar_asynchronous_logic.add(r)
r = gdstk.Reference(d_reset_ff, (23.7,3.29)); r.repetition = gdstk.Repetition(1, 1, v1=(0,0), v2=(0,0)); sar_asynchronous_logic.add(r)
r = gdstk.Reference(d_reset_ff, (62.9,-17.25), rotation=pi, x_reflection=True); r.repetition = gdstk.Repetition(1, 1, v1=(0,0), v2=(0,0)); sar_asynchronous_logic.add(r)
r = gdstk.Reference(t_gate, (90,4.41)); r.repetition = gdstk.Repetition(1, 1, v1=(0,0), v2=(0,0)); sar_asynchronous_logic.add(r)
r = gdstk.Reference(t_gate, (90,-16.8)); r.repetition = gdstk.Repetition(1, 1, v1=(0,0), v2=(0,0)); sar_asynchronous_logic.add(r)
r = gdstk.Reference(pfet_4, (84.46,9.28), rotation=pi); r.repetition = gdstk.Repetition(1, 1, v1=(0,0), v2=(0,0)); sar_asynchronous_logic.add(r)
r = gdstk.Reference(pfet_4, (97.23,9.28), rotation=pi); r.repetition = gdstk.Repetition(1, 1, v1=(0,0), v2=(0,0)); sar_asynchronous_logic.add(r)
r = gdstk.Reference(nfet_3, (83.97,-22.3)); r.repetition = gdstk.Repetition(1, 1, v1=(0,0), v2=(0,0)); sar_asynchronous_logic.add(r)
r = gdstk.Reference(via_dev_30, (2.88,1.93), rotation=pi/2); r.repetition = gdstk.Repetition(1, 1, v1=(0,0), v2=(0,0)); sar_asynchronous_logic.add(r)
r = gdstk.Reference(via_dev_31, (-5.06,8.63), rotation=pi/2); r.repetition = gdstk.Repetition(1, 1, v1=(0,0), v2=(0,0)); sar_asynchronous_logic.add(r)
r = gdstk.Reference(via_dev_31, (-5.02,-11.9), rotation=pi/2); r.repetition = gdstk.Repetition(1, 1, v1=(0,0), v2=(0,0)); sar_asynchronous_logic.add(r)
r = gdstk.Reference(via_dev_32, (-12.68,-4.48), rotation=pi/2); r.repetition = gdstk.Repetition(1, 1, v1=(0,0), v2=(0,0)); sar_asynchronous_logic.add(r)
r = gdstk.Reference(via_dev_32, (-12.66,-25.25), rotation=pi/2); r.repetition = gdstk.Repetition(1, 1, v1=(0,0), v2=(0,0)); sar_asynchronous_logic.add(r)
r = gdstk.Reference(via_dev_31, (107.24,-5.9), rotation=pi/2); r.repetition = gdstk.Repetition(1, 1, v1=(0,0), v2=(0,0)); sar_asynchronous_logic.add(r)
r = gdstk.Reference(via_dev_31, (107.29,-25.21), rotation=pi/2); r.repetition = gdstk.Repetition(1, 1, v1=(0,0), v2=(0,0)); sar_asynchronous_logic.add(r)
r = gdstk.Reference(via_dev_32, (116.33,8.71), rotation=pi/2); r.repetition = gdstk.Repetition(1, 1, v1=(0,0), v2=(0,0)); sar_asynchronous_logic.add(r)
r = gdstk.Reference(via_dev_32, (116.26,-11.33), rotation=pi/2); r.repetition = gdstk.Repetition(1, 1, v1=(0,0), v2=(0,0)); sar_asynchronous_logic.add(r)
r = gdstk.Reference(via_dev_33, (1.76,-8.35), rotation=pi/2); r.repetition = gdstk.Repetition(1, 1, v1=(0,0), v2=(0,0)); sar_asynchronous_logic.add(r)
r = gdstk.Reference(via_dev_30, (87.5,2.98), rotation=pi/2); r.repetition = gdstk.Repetition(1, 1, v1=(0,0), v2=(0,0)); sar_asynchronous_logic.add(r)
r = gdstk.Reference(via_dev_34, (87.5,-8.35), rotation=pi/2); r.repetition = gdstk.Repetition(1, 1, v1=(0,0), v2=(0,0)); sar_asynchronous_logic.add(r)
r = gdstk.Reference(via_dev_34, (6.32,-5.79), rotation=pi/2); r.repetition = gdstk.Repetition(1, 1, v1=(0,0), v2=(0,0)); sar_asynchronous_logic.add(r)
r = gdstk.Reference(nfet_3, (95.98,-22.4)); r.repetition = gdstk.Repetition(1, 1, v1=(0,0), v2=(0,0)); sar_asynchronous_logic.add(r)
r = gdstk.Reference(via_dev_30, (84.27,4.69), rotation=pi/2); r.repetition = gdstk.Repetition(1, 1, v1=(0,0), v2=(0,0)); sar_asynchronous_logic.add(r)
r = gdstk.Reference(via_dev_34, (82.05,-5.79), rotation=pi/2); r.repetition = gdstk.Repetition(1, 1, v1=(0,0), v2=(0,0)); sar_asynchronous_logic.add(r)
r = gdstk.Reference(via_dev_29, (89.38,4.33), rotation=pi/2); r.repetition = gdstk.Repetition(1, 1, v1=(0,0), v2=(0,0)); sar_asynchronous_logic.add(r)
r = gdstk.Reference(via_dev_35, (97.27,-20.56), rotation=pi/2); r.repetition = gdstk.Repetition(1, 1, v1=(0,0), v2=(0,0)); sar_asynchronous_logic.add(r)
r = gdstk.Reference(via_dev_36, (95.75,0.66), rotation=pi/2); r.repetition = gdstk.Repetition(1, 1, v1=(0,0), v2=(0,0)); sar_asynchronous_logic.add(r)
r = gdstk.Reference(via_dev_30, (82.05,2.14), rotation=pi/2); r.repetition = gdstk.Repetition(1, 1, v1=(0,0), v2=(0,0)); sar_asynchronous_logic.add(r)
r = gdstk.Reference(via_dev_34, (84.27,-5.79), rotation=pi/2); r.repetition = gdstk.Repetition(1, 1, v1=(0,0), v2=(0,0)); sar_asynchronous_logic.add(r)
r = gdstk.Reference(via_dev_30, (87.5,-18.23), rotation=pi/2); r.repetition = gdstk.Repetition(1, 1, v1=(0,0), v2=(0,0)); sar_asynchronous_logic.add(r)
r = gdstk.Reference(via_dev_30, (82.85,-19.07), rotation=pi/2); r.repetition = gdstk.Repetition(1, 1, v1=(0,0), v2=(0,0)); sar_asynchronous_logic.add(r)
r = gdstk.Reference(via_dev_25, (98.2,2.28), rotation=pi/2); r.repetition = gdstk.Repetition(1, 1, v1=(0,0), v2=(0,0)); sar_asynchronous_logic.add(r)
r = gdstk.Reference(via_dev_37, (98.2,-5.79), rotation=pi/2); r.repetition = gdstk.Repetition(1, 1, v1=(0,0), v2=(0,0)); sar_asynchronous_logic.add(r)
r = gdstk.Reference(via_dev_25, (99.54,1.44), rotation=pi/2); r.repetition = gdstk.Repetition(1, 1, v1=(0,0), v2=(0,0)); sar_asynchronous_logic.add(r)
r = gdstk.Reference(via_dev_37, (99.54,-8.35), rotation=pi/2); r.repetition = gdstk.Repetition(1, 1, v1=(0,0), v2=(0,0)); sar_asynchronous_logic.add(r)
r = gdstk.Reference(via_dev_37, (101.45,0.84), rotation=pi/2); r.repetition = gdstk.Repetition(1, 1, v1=(0,0), v2=(0,0)); sar_asynchronous_logic.add(r)
r = gdstk.Reference(via_dev_38, (97.69,5.38), rotation=pi/2); r.repetition = gdstk.Repetition(1, 1, v1=(0,0), v2=(0,0)); sar_asynchronous_logic.add(r)
r = gdstk.Reference(via_dev_39, (95.96,-22.4), rotation=pi/2); r.repetition = gdstk.Repetition(1, 1, v1=(0,0), v2=(0,0)); sar_asynchronous_logic.add(r)
r = gdstk.Reference(via_dev_37, (93.7,-18.92), rotation=pi/2); r.repetition = gdstk.Repetition(1, 1, v1=(0,0), v2=(0,0)); sar_asynchronous_logic.add(r)
r = gdstk.Reference(via_dev_37, (93.7,2.29), rotation=pi/2); r.repetition = gdstk.Repetition(1, 1, v1=(0,0), v2=(0,0)); sar_asynchronous_logic.add(r)
r = gdstk.Reference(via_dev_34, (85.26,-8.35), rotation=pi/2); r.repetition = gdstk.Repetition(1, 1, v1=(0,0), v2=(0,0)); sar_asynchronous_logic.add(r)
r = gdstk.Reference(via_dev_35, (97.04,4.73), rotation=pi/2); r.repetition = gdstk.Repetition(1, 1, v1=(0,0), v2=(0,0)); sar_asynchronous_logic.add(r)
r = gdstk.Reference(via_dev_38, (84.92,5.38), rotation=pi/2); r.repetition = gdstk.Repetition(1, 1, v1=(0,0), v2=(0,0)); sar_asynchronous_logic.add(r)
r = gdstk.Reference(via_dev_30, (85.26,-20.47), rotation=pi/2); r.repetition = gdstk.Repetition(1, 1, v1=(0,0), v2=(0,0)); sar_asynchronous_logic.add(r)
r = gdstk.Reference(via_dev_39, (85.87,-22.3), rotation=pi/2); r.repetition = gdstk.Repetition(1, 1, v1=(0,0), v2=(0,0)); sar_asynchronous_logic.add(r)
r = gdstk.Reference(via_dev_29, (89.38,-20.29), rotation=pi/2); r.repetition = gdstk.Repetition(1, 1, v1=(0,0), v2=(0,0)); sar_asynchronous_logic.add(r)
r = gdstk.Reference(via_dev_37, (3.72,-23.94), rotation=pi/2); r.repetition = gdstk.Repetition(1, 1, v1=(0,0), v2=(0,0)); sar_asynchronous_logic.add(r)
r = gdstk.Reference(via_dev_37, (3.72,-4), rotation=pi/2); r.repetition = gdstk.Repetition(1, 1, v1=(0,0), v2=(0,0)); sar_asynchronous_logic.add(r)
r = gdstk.Reference(via_dev_29, (63.74,-3.3), rotation=pi/2); r.repetition = gdstk.Repetition(1, 1, v1=(0,0), v2=(0,0)); sar_asynchronous_logic.add(r)
r = gdstk.Reference(via_dev_25, (3.72,-14.6), rotation=pi/2); r.repetition = gdstk.Repetition(1, 1, v1=(0,0), v2=(0,0)); sar_asynchronous_logic.add(r)
r = gdstk.Reference(via_dev_37, (7.54,5.1), rotation=pi/2); r.repetition = gdstk.Repetition(1, 1, v1=(0,0), v2=(0,0)); sar_asynchronous_logic.add(r)
r = gdstk.Reference(via_dev_37, (-2.86,5.06), rotation=pi/2); r.repetition = gdstk.Repetition(1, 1, v1=(0,0), v2=(0,0)); sar_asynchronous_logic.add(r)
r = gdstk.Reference(via_dev_34, (-2.39,-10.56), rotation=pi/2); r.repetition = gdstk.Repetition(1, 1, v1=(0,0), v2=(0,0)); sar_asynchronous_logic.add(r)
r = gdstk.Reference(via_dev_25, (80.44,-19.54), rotation=pi/2); r.repetition = gdstk.Repetition(1, 1, v1=(0,0), v2=(0,0)); sar_asynchronous_logic.add(r)
r = gdstk.Reference(via_dev_37, (80.37,-17.27), rotation=pi/2); r.repetition = gdstk.Repetition(1, 1, v1=(0,0), v2=(0,0)); sar_asynchronous_logic.add(r)
r = gdstk.Reference(via_dev_37, (80.36,3), rotation=pi/2); r.repetition = gdstk.Repetition(1, 1, v1=(0,0), v2=(0,0)); sar_asynchronous_logic.add(r)
r = gdstk.Reference(via_dev_30, (6.5,1.9), rotation=pi/2); r.repetition = gdstk.Repetition(1, 1, v1=(0,0), v2=(0,0)); sar_asynchronous_logic.add(r)
r = gdstk.Reference(via_dev_25, (80.37,-6.92), rotation=pi/2); r.repetition = gdstk.Repetition(1, 1, v1=(0,0), v2=(0,0)); sar_asynchronous_logic.add(r)
r = gdstk.Reference(via_dev_25, (93.7,-6.92), rotation=pi/2); r.repetition = gdstk.Repetition(1, 1, v1=(0,0), v2=(0,0)); sar_asynchronous_logic.add(r)

lib.write_gds('SAR_Asynchronous_Logic.gds')
